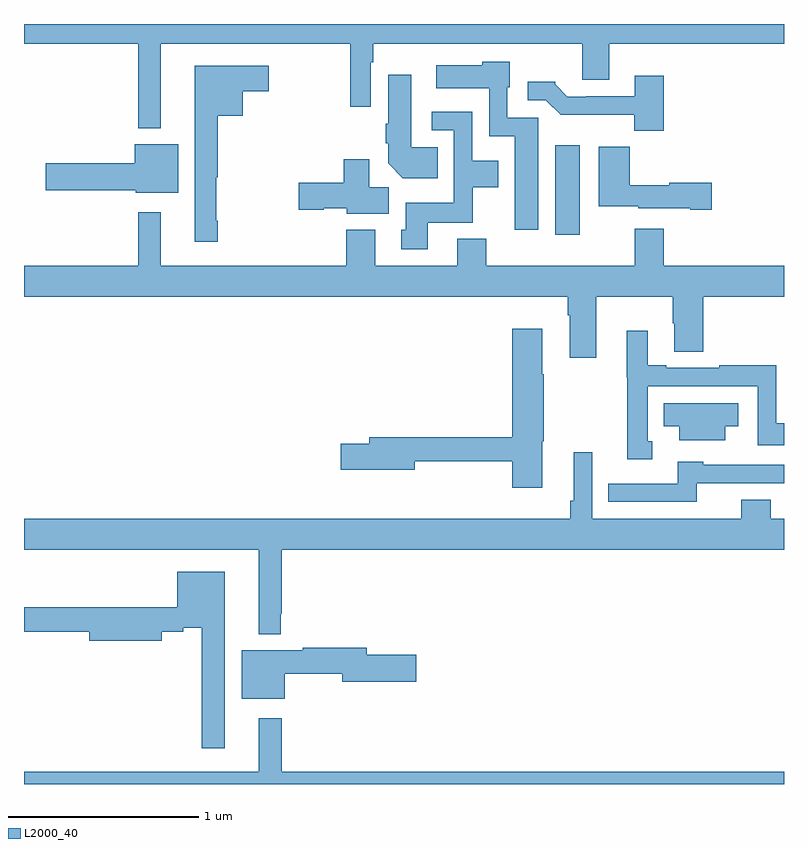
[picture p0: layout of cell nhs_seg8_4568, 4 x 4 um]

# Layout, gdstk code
import gdstk
lib = gdstk.Library(unit=1e-6, precision=1e-09)
def R(c, l, rs):  # rectangles x0, y0, x1, y1
    for r in rs: c.add(gdstk.rectangle(r[:2], r[2:], *l))
def P(c, l, *ps):  # polygons
    for p in ps: c.add(gdstk.Polygon(p, *l))
L2000_40 = (2000, 40)

nhs_seg8_4568 = lib.new_cell('nhs_seg8_4568')
R(nhs_seg8_4568, L2000_40, [(389.795,1152.792,389.926,1153.261)])
P(nhs_seg8_4568, L2000_40, [(387,1153.796),(387.6,1153.796),(387.6,1153.352),(387.721,1153.352),(387.721,1153.796),(388.716,1153.796),(388.716,1153.464),(388.824,1153.464),(388.824,1153.7),(388.837,1153.7),(388.837,1153.796),(389.939,1153.796),(389.939,1153.606),(390.079,1153.606),(390.079,1153.796),(391,1153.796),(391,1153.9),(387,1153.9)],
  [(389.707,1153.407),(389.544,1153.407),(389.544,1153.566),(389.557,1153.566),(389.557,1153.702),(389.412,1153.702),(389.412,1153.684),(389.169,1153.684),(389.169,1153.562),(389.448,1153.562),(389.448,1153.31),(389.582,1153.31),(389.582,1152.816),(389.707,1152.816)],
  [(388.021,1152.865),(388.013,1152.865),(388.013,1153.094),(388.021,1153.094),(388.021,1153.418),(388.15,1153.418),(388.15,1153.547),(388.288,1153.547),(388.288,1153.681),(387.899,1153.681),(387.899,1152.753),(388.021,1152.753)],
  [(389.177,1153.252),(389.038,1153.252),(389.038,1153.633),(388.916,1153.633),(388.916,1153.376),(388.904,1153.376),(388.904,1153.273),(388.916,1153.273),(388.916,1153.166),(388.994,1153.088),(389.177,1153.088)],
  [(390.368,1153.627),(390.215,1153.627),(390.215,1153.521),(389.959,1153.521),(389.959,1153.518),(389.86,1153.518),(389.796,1153.582),(389.796,1153.597),(389.652,1153.597),(389.652,1153.5),(389.745,1153.5),(389.824,1153.422),(390.213,1153.422),(390.213,1153.337),(390.368,1153.337)],
  [(389.125,1152.854),(389.361,1152.854),(389.361,1153.04),(389.497,1153.04),(389.497,1153.18),(389.358,1153.18),(389.358,1153.437),(389.145,1153.437),(389.145,1153.341),(389.262,1153.341),(389.262,1152.958),(389.009,1152.958),(389.009,1152.816),(388.985,1152.816),(388.985,1152.714),(389.125,1152.714)],
  [(387.811,1153.267),(387.584,1153.267),(387.584,1153.166),(387.114,1153.166),(387.114,1153.024),(387.588,1153.024),(387.588,1153.013),(387.811,1153.013)],
  [(390.619,1153.064),(390.396,1153.064),(390.396,1153.051),(390.188,1153.051),(390.188,1153.255),(390.026,1153.255),(390.026,1152.941),(390.234,1152.941),(390.234,1152.929),(390.506,1152.929),(390.506,1152.922),(390.619,1152.922)],
  [(388.921,1153.04),(388.816,1153.04),(388.816,1153.189),(388.682,1153.189),(388.682,1153.064),(388.446,1153.064),(388.446,1152.922),(388.578,1152.922),(388.578,1152.929),(388.698,1152.929),(388.698,1152.902),(388.921,1152.902)],
  [(390.013,1152.464),(390.415,1152.464),(390.415,1152.326),(390.422,1152.326),(390.422,1152.175),(390.575,1152.175),(390.575,1152.464),(391,1152.464),(391,1152.628),(390.368,1152.628),(390.368,1152.823),(390.215,1152.823),(390.215,1152.628),(389.432,1152.628),(389.432,1152.769),(389.279,1152.769),(389.279,1152.628),(388.849,1152.628),(388.849,1152.817),(388.697,1152.817),(388.697,1152.628),(387.721,1152.628),(387.721,1152.91),(387.6,1152.91),(387.6,1152.628),(387,1152.628),(387,1152.464),(389.861,1152.464),(389.861,1152.368),(389.873,1152.368),(389.873,1152.144),(390.013,1152.144)],
  [(389.728,1151.703),(389.736,1151.703),(389.736,1152.056),(389.728,1152.056),(389.728,1152.295),(389.57,1152.295),(389.57,1151.726),(388.817,1151.726),(388.817,1151.69),(388.668,1151.69),(388.668,1151.555),(389.056,1151.555),(389.056,1151.598),(389.57,1151.598),(389.57,1151.46),(389.728,1151.46)],
  [(390.307,1151.703),(390.282,1151.703),(390.282,1151.994),(390.861,1151.994),(390.861,1151.682),(391,1151.682),(391,1151.798),(390.96,1151.798),(390.96,1152.103),(390.658,1152.103),(390.658,1152.09),(390.379,1152.09),(390.379,1152.103),(390.283,1152.103),(390.283,1152.286),(390.173,1152.286),(390.173,1152.041),(390.174,1152.041),(390.174,1151.609),(390.307,1151.609)],
  [(390.691,1151.783),(390.76,1151.783),(390.76,1151.905),(390.367,1151.905),(390.367,1151.783),(390.449,1151.783),(390.449,1151.708),(390.691,1151.708)],
  [(391,1151.296),(390.929,1151.296),(390.929,1151.395),(390.776,1151.395),(390.776,1151.296),(389.991,1151.296),(389.991,1151.647),(389.894,1151.647),(389.894,1151.392),(389.875,1151.392),(389.875,1151.296),(387,1151.296),(387,1151.132),(388.235,1151.132),(388.235,1150.688),(388.35,1150.688),(388.35,1150.795),(388.357,1150.795),(388.357,1151.132),(391,1151.132)],
  [(390.54,1151.484),(391,1151.484),(391,1151.58),(390.576,1151.58),(390.576,1151.596),(390.44,1151.596),(390.44,1151.481),(390.076,1151.481),(390.076,1151.385),(390.54,1151.385)],
  [(388.057,1151.017),(387.806,1151.017),(387.806,1150.831),(387,1150.831),(387,1150.702),(387.344,1150.702),(387.344,1150.655),(387.724,1150.655),(387.724,1150.702),(387.839,1150.702),(387.839,1150.722),(387.936,1150.722),(387.936,1150.089),(388.057,1150.089)],
  [(388.372,1150.48),(388.676,1150.48),(388.676,1150.438),(389.065,1150.438),(389.065,1150.58),(388.804,1150.58),(388.804,1150.616),(388.468,1150.616),(388.468,1150.603),(388.145,1150.603),(388.145,1150.349),(388.372,1150.349)],
  [(391,1149.964),(388.357,1149.964),(388.357,1150.246),(388.235,1150.246),(388.235,1149.964),(387,1149.964),(387,1149.9),(391,1149.9)])

lib.write_gds('nhs_seg8_4568.gds')
